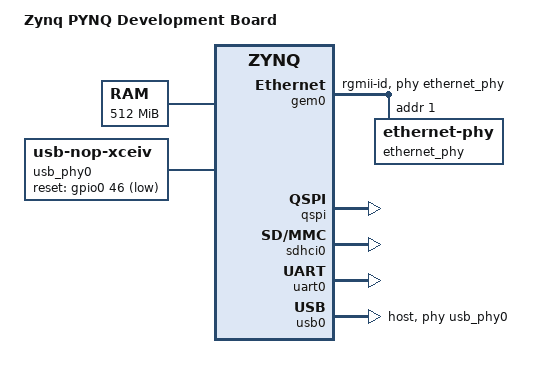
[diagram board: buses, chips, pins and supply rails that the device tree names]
/*
+++ arch/arm/dts/zynq-pynqz1.dts

*/

/*
   // [20190621] Chen Wenjie  for TUL PYNQ-Z2 board
   //

 * Digilent PYNQ-Z1 Z7 board DTS
 *
 *  Copyright (C) 2017 ikwzm
 *  Copyright (C) 2016 Digilent
 *
 * SPDX-License-Identifier:	GPL-2.0+

 */
/dts-v1/;
#include "zynq-7000.dtsi"

/ {
	model = "Zynq PYNQ Development Board";
	compatible = "digilent,zynq-pynqz1", "xlnx,zynq-7000","xlnx, zynq-pynq","tul,zynq-pynqz2";

	aliases {
		ethernet0 = &gem0;
		serial0 = &uart0;
		spi0 = &qspi;
		mmc0 = &sdhci0;
	};

	memory {
		device_type = "memory";
		reg = <0x0 0x20000000>;
	};

	chosen {
		bootargs = "";
		stdout-path = "serial0:115200n8";
	};

	usb_phy0: phy0 {
		compatible = "usb-nop-xceiv";
		#phy-cells = <0>;
		reset-gpios = <&gpio0 46 1>;
	};
};

&clkc {
	ps-clk-frequency = <50000000>;
};

&gem0 {
	status = "okay";
	phy-mode = "rgmii-id";
	phy-handle = <&ethernet_phy>;

	ethernet_phy: ethernet-phy@0 { /* rtl8211e-vl */
		reg = <1>;
	};
};

&qspi {
	u-boot,dm-pre-reloc;
	status = "okay";
};

&sdhci0 {
	u-boot,dm-pre-reloc;
	status = "okay";
};

&uart0 {
	u-boot,dm-pre-reloc;
	status = "okay";
};

&usb0 {
	status = "okay";
	dr_mode = "host";
	usb-phy = <&usb_phy0>;
};
